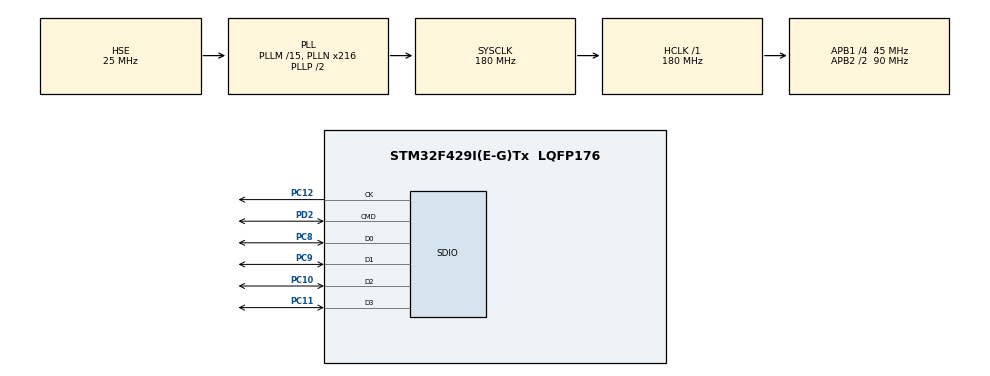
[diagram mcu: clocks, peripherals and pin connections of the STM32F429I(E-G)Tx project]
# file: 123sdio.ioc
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Mcu.Family=STM32F4
Mcu.Name=STM32F429I(E-G)Tx
Mcu.Package=LQFP176
NVIC.PriorityGroup=NVIC_PRIORITYGROUP_4
PA13.Mode=Serial_Wire
PA13.Signal=SYS_JTMS-SWDIO
PA14.Mode=Serial_Wire
PA14.Signal=SYS_JTCK-SWCLK
PC10.Mode=SD_4_bits_Wide_bus
PC10.Signal=SDIO_D2
PC11.Mode=SD_4_bits_Wide_bus
PC11.Signal=SDIO_D3
PC12.Mode=SD_4_bits_Wide_bus
PC12.Signal=SDIO_CK
PC14/OSC32_IN.Mode=LSE-External-Oscillator
PC14/OSC32_IN.Signal=RCC_OSC32_IN
PC15/OSC32_OUT.Mode=LSE-External-Oscillator
PC15/OSC32_OUT.Signal=RCC_OSC32_OUT
PC8.Mode=SD_4_bits_Wide_bus
PC8.Signal=SDIO_D0
PC9.Mode=SD_4_bits_Wide_bus
PC9.Signal=SDIO_D1
PD2.Mode=SD_4_bits_Wide_bus
PD2.Signal=SDIO_CMD
PH0/OSC_IN.Mode=HSE-External-Oscillator
PH0/OSC_IN.Signal=RCC_OSC_IN
PH1/OSC_OUT.Mode=HSE-External-Oscillator
PH1/OSC_OUT.Signal=RCC_OSC_OUT
ProjectManager.HeapSize=0x200
ProjectManager.StackSize=0x400
ProjectManager.TargetToolchain=MDK-ARM V5.27
RCC.48MHZClocksFreq_Value=45000000
RCC.AHBFreq_Value=180000000
RCC.APB1CLKDivider=RCC_HCLK_DIV4
RCC.APB1Freq_Value=45000000
RCC.APB1TimFreq_Value=90000000
RCC.APB2CLKDivider=RCC_HCLK_DIV2
RCC.APB2Freq_Value=90000000
RCC.APB2TimFreq_Value=180000000
RCC.CortexFreq_Value=180000000
RCC.HCLKFreq_Value=180000000
RCC.HSE_VALUE=25000000
RCC.HSI_VALUE=16000000
RCC.PLLM=15
RCC.PLLN=216
RCC.PLLQ=8
RCC.PLLSourceVirtual=RCC_PLLSOURCE_HSE
RCC.SYSCLKFreq_VALUE=180000000
RCC.SYSCLKSource=RCC_SYSCLKSOURCE_PLLCLK
RCC.VCOOutputFreq_Value=360000000
VP_FATFS_VS_SDIO.Mode=SDIO
board=custom

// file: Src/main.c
/* USER CODE BEGIN Header */
/**
  ******************************************************************************
  * @file           : main.c
  * @brief          : Main program body
  ******************************************************************************
  * @attention
  *
  * Copyright (c) 2024 STMicroelectronics.
  * All rights reserved.
  *
  * This software is licensed under terms that can be found in the LICENSE file
  * in the root directory of this software component.
  * If no LICENSE file comes with this software, it is provided AS-IS.
  *
  ******************************************************************************
  */
/* USER CODE END Header */
#include "main.h"
#include "fatfs.h"
#include "fatfs.h"

FATFS fs;
FILINFO fileInfo;
DIR dir;
FRESULT res;
FIL file;  // ????

HAL_SD_CardInfoTypeDef cardInfo;
#define WORK_BUFFER_SIZE 4096
BYTE work[WORK_BUFFER_SIZE];

SD_HandleTypeDef hsd;

void SystemClock_Config(void);
static void MX_GPIO_Init(void);
static void MX_SDIO_SD_Init(void);

/* USER CODE BEGIN 0 */
void Mount_SD(void)
{
    res = f_mount(&fs, "", 1);  // Mount
    if (res != FR_OK)
    {
        // ??? ?? mount
    }
}
char data[] = "Hello, STM32! This is a test file.";
UINT bytes_written;

void CreateAndWriteFile(void)
{
     res = f_open(&file, "test1.txt", FA_CREATE_ALWAYS | FA_WRITE);
    if (res == FR_OK)
    {
         res = f_write(&file, data, sizeof(data)-1, &bytes_written);  // sizeof(data)-1
        if (res == FR_OK)
        {

        }
        else
        {

        }

        f_close(&file);
    }
    else
    {
     }
}
UINT bytes_read;
char buffer[100];

#define SD_BLOCK_SIZE 512
void WriteToSD_Sector(uint32_t sector, uint8_t *data, uint32_t size)
{
    HAL_StatusTypeDef status;
     status = HAL_SD_WriteBlocks(&hsd, data, sector, size / SD_BLOCK_SIZE,10000);  // ????? ??????? ?? ?????

    if (status == HAL_OK)
    {
			int y=0;
    }
    else
    {
    }
	}

void format(void)
{

	 res = f_mkfs("", FM_FAT32, 0, work, sizeof(work));//format
   if (res != FR_OK)
    {

}
}
void ReadFromFile(void)
{
     res = f_open(&file, "test1.txt", FA_READ);
    if (res == FR_OK)
    {

        res = f_read(&file, buffer, sizeof(buffer)-1, &bytes_read);  // sizeof(buffer)-1 ???? ??????? ?? ???? ???? ???? ????? ????
        if (res == FR_OK)
        {
            buffer[bytes_read] = '\0';
         }
        else
        {
          }

        f_close(&file);
    }
    else
    {

     }
}
/* USER CODE END 0 */

int main(void)
{

  /* MCU Configuration--------------------------------------------------------*/

  /* Reset of all peripherals, Initializes the Flash interface and the Systick. */
  HAL_Init();

  /* Configure the system clock */
  SystemClock_Config();

  /* Initialize all configured peripherals */
  MX_GPIO_Init();
  /* USER CODE BEGIN 2 */
MX_FATFS_Init();
  /* USER CODE END 2 */
 MX_SDIO_SD_Init();
   Mount_SD();
    // Initialization
    if (HAL_SD_Init(&hsd) != HAL_OK)
    {
        // Initialization Error
        Error_Handler();
    }

    // Get SD card info
    HAL_SD_GetCardInfo(&hsd, &cardInfo);

    // Example: Reading a block of data
    uint8_t buffer[512];  // Buffer for storing data
    if (HAL_SD_ReadBlocks(&hsd, buffer, 0, 1, HAL_MAX_DELAY) == HAL_OK)
    {
        // Successfully read the first block (sector 0)
    }
    else
    {
        // Error reading block
        Error_Handler();
    }
  /* Infinite loop */
  /* USER CODE BEGIN WHILE */
	//ListFiles("");
		    res = f_mount(&fs, "", 1);
    if (res != FR_OK)
    {
        // ??? ?? ??? FATFS
    }

		//CreateAndWriteFile();
		 ReadFromFile();

  while (1)
  {
    /* USER CODE END WHILE */

  }
}

void SystemClock_Config(void)
{
  RCC_OscInitTypeDef RCC_OscInitStruct = {0};
  RCC_ClkInitTypeDef RCC_ClkInitStruct = {0};

  /** Configure the main internal regulator output voltage
  */
  __HAL_RCC_PWR_CLK_ENABLE();
  __HAL_PWR_VOLTAGESCALING_CONFIG(PWR_REGULATOR_VOLTAGE_SCALE1);

  /** Initializes the RCC Oscillators according to the specified parameters
  * in the RCC_OscInitTypeDef structure.
  */
  RCC_OscInitStruct.OscillatorType = RCC_OSCILLATORTYPE_HSE;
  RCC_OscInitStruct.HSEState = RCC_HSE_ON;
  RCC_OscInitStruct.PLL.PLLState = RCC_PLL_ON;
  RCC_OscInitStruct.PLL.PLLSource = RCC_PLLSOURCE_HSE;
  RCC_OscInitStruct.PLL.PLLM = 15;
  RCC_OscInitStruct.PLL.PLLN = 216;
  RCC_OscInitStruct.PLL.PLLP = RCC_PLLP_DIV2;
  RCC_OscInitStruct.PLL.PLLQ = 8;
  if (HAL_RCC_OscConfig(&RCC_OscInitStruct) != HAL_OK)
  {
    Error_Handler();
  }

  /** Activate the Over-Drive mode
  */
  if (HAL_PWREx_EnableOverDrive() != HAL_OK)
  {
    Error_Handler();
  }

  /** Initializes the CPU, AHB and APB buses clocks
  */
  RCC_ClkInitStruct.ClockType = RCC_CLOCKTYPE_HCLK|RCC_CLOCKTYPE_SYSCLK
                              |RCC_CLOCKTYPE_PCLK1|RCC_CLOCKTYPE_PCLK2;
  RCC_ClkInitStruct.SYSCLKSource = RCC_SYSCLKSOURCE_PLLCLK;
  RCC_ClkInitStruct.AHBCLKDivider = RCC_SYSCLK_DIV1;
  RCC_ClkInitStruct.APB1CLKDivider = RCC_HCLK_DIV4;
  RCC_ClkInitStruct.APB2CLKDivider = RCC_HCLK_DIV2;

  if (HAL_RCC_ClockConfig(&RCC_ClkInitStruct, FLASH_LATENCY_5) != HAL_OK)
  {
    Error_Handler();
  }
}

static void MX_SDIO_SD_Init(void)
{

  hsd.Instance = SDIO;
  hsd.Init.ClockEdge = SDIO_CLOCK_EDGE_RISING;
  hsd.Init.ClockBypass = SDIO_CLOCK_BYPASS_DISABLE;
  hsd.Init.ClockPowerSave = SDIO_CLOCK_POWER_SAVE_DISABLE;
  hsd.Init.BusWide = SDIO_BUS_WIDE_1B;
  hsd.Init.HardwareFlowControl = SDIO_HARDWARE_FLOW_CONTROL_DISABLE;
  hsd.Init.ClockDiv = 2;

}

static void MX_GPIO_Init(void)
{

  /* GPIO Ports Clock Enable */
  __HAL_RCC_GPIOC_CLK_ENABLE();
  __HAL_RCC_GPIOH_CLK_ENABLE();
  __HAL_RCC_GPIOA_CLK_ENABLE();
  __HAL_RCC_GPIOD_CLK_ENABLE();

}

void Error_Handler(void)
{
  __disable_irq();
  while (1)
  {
  }
}
